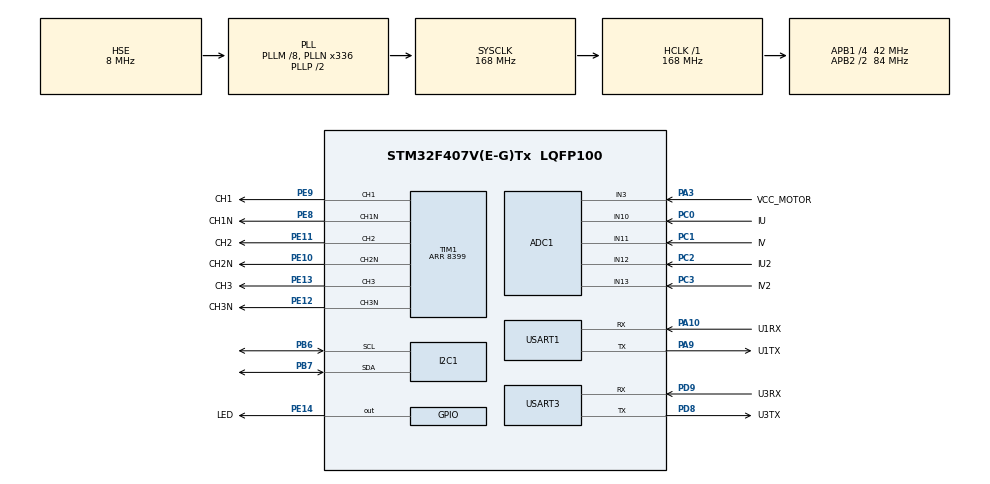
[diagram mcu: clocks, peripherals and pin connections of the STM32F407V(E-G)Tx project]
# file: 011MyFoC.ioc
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ADC1.Channel-0\#ChannelRegularConversion=ADC_CHANNEL_3
ADC1.Channel-1\#ChannelRegularConversion=ADC_CHANNEL_10
ADC1.Channel-2\#ChannelRegularConversion=ADC_CHANNEL_11
ADC1.Channel-3\#ChannelRegularConversion=ADC_CHANNEL_12
ADC1.Channel-4\#ChannelRegularConversion=ADC_CHANNEL_13
ADC1.ContinuousConvMode=ENABLE
ADC1.DMAContinuousRequests=ENABLE
ADC1.EOCSelection=ADC_EOC_SEQ_CONV
ADC1.NbrOfConversion=5
ADC1.NbrOfConversionFlag=1
ADC1.Rank-0\#ChannelRegularConversion=1
ADC1.Rank-1\#ChannelRegularConversion=2
ADC1.Rank-2\#ChannelRegularConversion=3
ADC1.Rank-3\#ChannelRegularConversion=4
ADC1.Rank-4\#ChannelRegularConversion=5
ADC1.SamplingTime-0\#ChannelRegularConversion=ADC_SAMPLETIME_3CYCLES
ADC1.SamplingTime-1\#ChannelRegularConversion=ADC_SAMPLETIME_3CYCLES
ADC1.SamplingTime-2\#ChannelRegularConversion=ADC_SAMPLETIME_3CYCLES
ADC1.SamplingTime-3\#ChannelRegularConversion=ADC_SAMPLETIME_3CYCLES
ADC1.SamplingTime-4\#ChannelRegularConversion=ADC_SAMPLETIME_3CYCLES
ADC1.ScanConvMode=ENABLE
ADC1.master=1
Dma.ADC1.0.Direction=DMA_PERIPH_TO_MEMORY
Dma.ADC1.0.FIFOMode=DMA_FIFOMODE_DISABLE
Dma.ADC1.0.Instance=DMA2_Stream0
Dma.ADC1.0.MemDataAlignment=DMA_MDATAALIGN_HALFWORD
Dma.ADC1.0.MemInc=DMA_MINC_ENABLE
Dma.ADC1.0.Mode=DMA_CIRCULAR
Dma.ADC1.0.PeriphDataAlignment=DMA_PDATAALIGN_HALFWORD
Dma.ADC1.0.PeriphInc=DMA_PINC_DISABLE
Dma.ADC1.0.Priority=DMA_PRIORITY_HIGH
Dma.Request0=ADC1
Dma.Request1=TIM1_CH1
Dma.Request2=TIM1_CH2
Dma.Request3=TIM1_CH3
Dma.TIM1_CH1.1.Direction=DMA_MEMORY_TO_PERIPH
Dma.TIM1_CH1.1.FIFOMode=DMA_FIFOMODE_DISABLE
Dma.TIM1_CH1.1.Instance=DMA2_Stream3
Dma.TIM1_CH1.1.MemDataAlignment=DMA_MDATAALIGN_HALFWORD
Dma.TIM1_CH1.1.MemInc=DMA_MINC_ENABLE
Dma.TIM1_CH1.1.Mode=DMA_CIRCULAR
Dma.TIM1_CH1.1.PeriphDataAlignment=DMA_PDATAALIGN_HALFWORD
Dma.TIM1_CH1.1.PeriphInc=DMA_PINC_DISABLE
Dma.TIM1_CH1.1.Priority=DMA_PRIORITY_VERY_HIGH
Dma.TIM1_CH2.2.Direction=DMA_MEMORY_TO_PERIPH
Dma.TIM1_CH2.2.FIFOMode=DMA_FIFOMODE_DISABLE
Dma.TIM1_CH2.2.Instance=DMA2_Stream2
Dma.TIM1_CH2.2.MemDataAlignment=DMA_MDATAALIGN_HALFWORD
Dma.TIM1_CH2.2.MemInc=DMA_MINC_ENABLE
Dma.TIM1_CH2.2.Mode=DMA_CIRCULAR
Dma.TIM1_CH2.2.PeriphDataAlignment=DMA_PDATAALIGN_HALFWORD
Dma.TIM1_CH2.2.PeriphInc=DMA_PINC_DISABLE
Dma.TIM1_CH2.2.Priority=DMA_PRIORITY_VERY_HIGH
Dma.TIM1_CH3.3.Direction=DMA_MEMORY_TO_PERIPH
Dma.TIM1_CH3.3.FIFOMode=DMA_FIFOMODE_DISABLE
Dma.TIM1_CH3.3.Instance=DMA2_Stream6
Dma.TIM1_CH3.3.MemDataAlignment=DMA_MDATAALIGN_HALFWORD
Dma.TIM1_CH3.3.MemInc=DMA_MINC_ENABLE
Dma.TIM1_CH3.3.Mode=DMA_CIRCULAR
Dma.TIM1_CH3.3.PeriphDataAlignment=DMA_PDATAALIGN_HALFWORD
Dma.TIM1_CH3.3.PeriphInc=DMA_PINC_DISABLE
Dma.TIM1_CH3.3.Priority=DMA_PRIORITY_VERY_HIGH
Mcu.Family=STM32F4
Mcu.Name=STM32F407V(E-G)Tx
Mcu.Package=LQFP100
NVIC.DMA2_Stream0_IRQn=true\:0\:0\:false\:false\:true\:false\:true
NVIC.DMA2_Stream2_IRQn=true\:0\:0\:false\:false\:true\:false\:true
NVIC.DMA2_Stream3_IRQn=true\:0\:0\:false\:false\:true\:false\:true
NVIC.DMA2_Stream6_IRQn=true\:0\:0\:false\:false\:true\:false\:true
NVIC.PriorityGroup=NVIC_PRIORITYGROUP_4
NVIC.TIM1_UP_TIM10_IRQn=true\:0\:0\:false\:false\:true\:true\:true
NVIC.TIM8_TRG_COM_TIM14_IRQn=true\:0\:0\:false\:false\:true\:false\:true
NVIC.TimeBase=TIM8_TRG_COM_TIM14_IRQn
NVIC.TimeBaseIP=TIM14
PA10.GPIO_Label=U1RX
PA10.Mode=Asynchronous
PA10.Signal=USART1_RX
PA13.Mode=Serial_Wire
PA13.Signal=SYS_JTMS-SWDIO
PA14.Mode=Serial_Wire
PA14.Signal=SYS_JTCK-SWCLK
PA3.GPIO_Label=VCC_MOTOR
PA3.Signal=ADCx_IN3
PA9.GPIO_Label=U1TX
PA9.Mode=Asynchronous
PA9.Signal=USART1_TX
PB6.Mode=I2C
PB6.Signal=I2C1_SCL
PB7.Mode=I2C
PB7.Signal=I2C1_SDA
PC0.GPIO_Label=IU
PC0.Signal=ADCx_IN10
PC1.GPIO_Label=IV
PC1.Signal=ADCx_IN11
PC2.GPIO_Label=IU2
PC2.Signal=ADCx_IN12
PC3.GPIO_Label=IV2
PC3.Signal=ADCx_IN13
PD8.GPIO_Label=U3TX
PD8.Mode=Asynchronous
PD8.Signal=USART3_TX
PD9.GPIO_Label=U3RX
PD9.Mode=Asynchronous
PD9.Signal=USART3_RX
PE10.GPIO_Label=CH2N
PE10.GPIO_Speed=GPIO_SPEED_FREQ_VERY_HIGH
PE10.Mode=PWM Generation2 CH2 CH2N
PE10.Signal=TIM1_CH2N
PE11.GPIO_Label=CH2
PE11.GPIO_Speed=GPIO_SPEED_FREQ_VERY_HIGH
PE11.Signal=S_TIM1_CH2
PE12.GPIO_Label=CH3N
PE12.GPIO_Speed=GPIO_SPEED_FREQ_VERY_HIGH
PE12.Mode=PWM Generation3 CH3 CH3N
PE12.Signal=TIM1_CH3N
PE13.GPIO_Label=CH3
PE13.GPIO_Speed=GPIO_SPEED_FREQ_VERY_HIGH
PE13.Signal=S_TIM1_CH3
PE14.GPIO_Label=LED
PE14.PinState=GPIO_PIN_SET
PE14.Signal=GPIO_Output
PE8.GPIO_Label=CH1N
PE8.GPIO_Speed=GPIO_SPEED_FREQ_VERY_HIGH
PE8.Mode=PWM Generation1 CH1 CH1N
PE8.Signal=TIM1_CH1N
PE9.GPIO_Label=CH1
PE9.GPIO_Speed=GPIO_SPEED_FREQ_VERY_HIGH
PE9.Signal=S_TIM1_CH1
PH0-OSC_IN.Mode=HSE-External-Oscillator
PH0-OSC_IN.Signal=RCC_OSC_IN
PH1-OSC_OUT.Mode=HSE-External-Oscillator
PH1-OSC_OUT.Signal=RCC_OSC_OUT
ProjectManager.HeapSize=0x200
ProjectManager.StackSize=0x400
ProjectManager.TargetToolchain=MDK-ARM V5.27
RCC.48MHZClocksFreq_Value=84000000
RCC.AHBFreq_Value=168000000
RCC.APB1CLKDivider=RCC_HCLK_DIV4
RCC.APB1Freq_Value=42000000
RCC.APB1TimFreq_Value=84000000
RCC.APB2CLKDivider=RCC_HCLK_DIV2
RCC.APB2Freq_Value=84000000
RCC.APB2TimFreq_Value=168000000
RCC.CortexFreq_Value=168000000
RCC.HCLKFreq_Value=168000000
RCC.HSE_VALUE=8000000
RCC.HSI_VALUE=16000000
RCC.LSE_VALUE=32768
RCC.PLLM=8
RCC.PLLN=336
RCC.PLLSourceVirtual=RCC_PLLSOURCE_HSE
RCC.SYSCLKFreq_VALUE=168000000
RCC.SYSCLKSource=RCC_SYSCLKSOURCE_PLLCLK
RCC.VCOOutputFreq_Value=336000000
SH.ADCx_IN10.0=ADC1_IN10,IN10
SH.ADCx_IN11.0=ADC1_IN11,IN11
SH.ADCx_IN12.0=ADC1_IN12,IN12
SH.ADCx_IN13.0=ADC1_IN13,IN13
SH.ADCx_IN3.0=ADC1_IN3,IN3
SH.S_TIM1_CH1.0=TIM1_CH1,PWM Generation1 CH1 CH1N
SH.S_TIM1_CH2.0=TIM1_CH2,PWM Generation2 CH2 CH2N
SH.S_TIM1_CH3.0=TIM1_CH3,PWM Generation3 CH3 CH3N
STMicroelectronics.X-CUBE-ALGOBUILD.1.1.0.LibraryCcMotionOoLibrariesJjMotionOoLibraries=true
TIM1.Channel-PWM\ Generation1\ CH1\ CH1N=TIM_CHANNEL_1
TIM1.Channel-PWM\ Generation2\ CH2\ CH2N=TIM_CHANNEL_2
TIM1.Channel-PWM\ Generation3\ CH3\ CH3N=TIM_CHANNEL_3
TIM1.Channel-PWM\ Generation4\ CH4=TIM_CHANNEL_4
TIM1.ClockDivision=TIM_CLOCKDIVISION_DIV4
TIM1.CounterMode=TIM_COUNTERMODE_CENTERALIGNED3
TIM1.DeadTime=168
TIM1.LockLevel=TIM_LOCKLEVEL_1
TIM1.OC1Preload_PWM=ENABLE
TIM1.OC2Preload_PWM=ENABLE
TIM1.OffStateIDLEMode=TIM_OSSI_ENABLE
TIM1.OffStateRunMode=TIM_OSSR_ENABLE
TIM1.Period=8399
TIM1.Pulse-PWM\ Generation1\ CH1\ CH1N=4199
TIM1.Pulse-PWM\ Generation2\ CH2\ CH2N=4199
TIM1.Pulse-PWM\ Generation3\ CH3\ CH3N=4199
USART1.VirtualMode=VM_ASYNC
USART3.VirtualMode=VM_ASYNC
VP_SYS_VS_tim14.Mode=TIM14
VP_TIM1_VS_ClockSourceINT.Mode=Internal
board=custom

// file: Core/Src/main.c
/* USER CODE BEGIN Header */
/**
  ******************************************************************************
  * @file           : main.c
  * @brief          : Main program body
  ******************************************************************************
  * @attention
  *
  * <h2><center>&copy; Copyright (c) 2021 STMicroelectronics.
  * All rights reserved.</center></h2>
  *
  * This software component is licensed by ST under BSD 3-Clause license,
  * the "License"; You may not use this file except in compliance with the
  * License. You may obtain a copy of the License at:
  *                        opensource.org/licenses/BSD-3-Clause
  *
  ******************************************************************************
  */
/* USER CODE END Header */
#include "main.h"
#include "adc.h"
#include "dma.h"
#include "i2c.h"
#include "tim.h"
#include "usart.h"
#include "gpio.h"

/* USER CODE BEGIN Includes */
#include "svpwm.h"
/* USER CODE END Includes */

/* USER CODE BEGIN PV */
float testTheta = 0, testKp = 0, speed = 0.1;
//ADC
extern DMA_HandleTypeDef hdma_adc1;
uint16_t adcRawData[5] = {0};
float adcValue[5];
//TIM
uint16_t pwmPluseRaw[3] = {4199, 4199, 4199};
/* USER CODE END PV */

void SystemClock_Config(void);

/* USER CODE BEGIN 0 */
void adcCompCallback( struct __DMA_HandleTypeDef * hdma)
{
  if(hdma == &hdma_adc1)
  {
  }
}
/* USER CODE END 0 */

int main(void)
{

  /* MCU Configuration--------------------------------------------------------*/

  /* Reset of all peripherals, Initializes the Flash interface and the Systick. */
  HAL_Init();

  /* Configure the system clock */
  SystemClock_Config();

  /* Initialize all configured peripherals */
  MX_GPIO_Init();
  MX_DMA_Init();
  MX_ADC1_Init();
  MX_I2C1_Init();
  MX_TIM1_Init();
  MX_USART1_UART_Init();
  MX_USART3_UART_Init();
  /* USER CODE BEGIN 2 */

  hdma_adc1.XferCpltCallback = adcCompCallback;
  HAL_ADC_Start_DMA(&hadc1, (uint32_t*)adcRawData, 5);

  pwmPluseRaw[0] = 4199;
  pwmPluseRaw[1] = 4199;
  pwmPluseRaw[2] = 4199;

  while(HAL_TIM_PWM_Start_DMA(&htim1, TIM_CHANNEL_1, (uint32_t*)&pwmPluseRaw[0], 1) == HAL_BUSY);
  while(HAL_TIM_PWM_Start_DMA(&htim1, TIM_CHANNEL_2, (uint32_t*)&pwmPluseRaw[1], 1) == HAL_BUSY);
  while(HAL_TIM_PWM_Start_DMA(&htim1, TIM_CHANNEL_3, (uint32_t*)&pwmPluseRaw[2], 1) == HAL_BUSY);
  HAL_TIMEx_PWMN_Start(&htim1, TIM_CHANNEL_1);
  HAL_TIMEx_PWMN_Start(&htim1, TIM_CHANNEL_2);
  HAL_TIMEx_PWMN_Start(&htim1, TIM_CHANNEL_3);
  /* USER CODE END 2 */

  /* Infinite loop */
  /* USER CODE BEGIN WHILE */
  float test[3] = {
    50.0,
    50.0,
    50.0,
  };

  while (1)
  {
    HAL_Delay(1);
    HAL_GPIO_TogglePin(LED_GPIO_Port, LED_Pin);

    // if(++test[0] > 100)
    // {
    //   test[0] = 0;
    // }
    // if(--test[1] < 0)
    // {
    //   test[1] = 100;
    // }

    if(testKp < 60.0)
      testKp += 0.05;

    if(speed < 50.0)
      speed += 0.005;

    testTheta += speed;
    if(testTheta >= 360.0)
    {
      testTheta = 0.0;
    }

    svpwmCal(testTheta, testKp, (StPwmDuty_t*)test);
    for(uint8_t i=0; i < 3; i++)
      pwmPluseRaw[i] = test[i]*(htim1.Instance->ARR);

    /* USER CODE END WHILE */

  }
}

void SystemClock_Config(void)
{
  RCC_OscInitTypeDef RCC_OscInitStruct = {0};
  RCC_ClkInitTypeDef RCC_ClkInitStruct = {0};

  /** Configure the main internal regulator output voltage
  */
  __HAL_RCC_PWR_CLK_ENABLE();
  __HAL_PWR_VOLTAGESCALING_CONFIG(PWR_REGULATOR_VOLTAGE_SCALE1);
  /** Initializes the RCC Oscillators according to the specified parameters
  * in the RCC_OscInitTypeDef structure.
  */
  RCC_OscInitStruct.OscillatorType = RCC_OSCILLATORTYPE_HSE;
  RCC_OscInitStruct.HSEState = RCC_HSE_ON;
  RCC_OscInitStruct.PLL.PLLState = RCC_PLL_ON;
  RCC_OscInitStruct.PLL.PLLSource = RCC_PLLSOURCE_HSE;
  RCC_OscInitStruct.PLL.PLLM = 8;
  RCC_OscInitStruct.PLL.PLLN = 336;
  RCC_OscInitStruct.PLL.PLLP = RCC_PLLP_DIV2;
  RCC_OscInitStruct.PLL.PLLQ = 4;
  if (HAL_RCC_OscConfig(&RCC_OscInitStruct) != HAL_OK)
  {
    Error_Handler();
  }
  /** Initializes the CPU, AHB and APB buses clocks
  */
  RCC_ClkInitStruct.ClockType = RCC_CLOCKTYPE_HCLK|RCC_CLOCKTYPE_SYSCLK
                              |RCC_CLOCKTYPE_PCLK1|RCC_CLOCKTYPE_PCLK2;
  RCC_ClkInitStruct.SYSCLKSource = RCC_SYSCLKSOURCE_PLLCLK;
  RCC_ClkInitStruct.AHBCLKDivider = RCC_SYSCLK_DIV1;
  RCC_ClkInitStruct.APB1CLKDivider = RCC_HCLK_DIV4;
  RCC_ClkInitStruct.APB2CLKDivider = RCC_HCLK_DIV2;

  if (HAL_RCC_ClockConfig(&RCC_ClkInitStruct, FLASH_LATENCY_5) != HAL_OK)
  {
    Error_Handler();
  }
}

 /**
  * @brief  Period elapsed callback in non blocking mode
  * @note   This function is called  when TIM14 interrupt took place, inside
  * HAL_TIM_IRQHandler(). It makes a direct call to HAL_IncTick() to increment
  * a global variable "uwTick" used as application time base.
  * @param  htim : TIM handle
  * @retval None
  */
void HAL_TIM_PeriodElapsedCallback(TIM_HandleTypeDef *htim)
{
  if (htim->Instance == TIM14) {
    HAL_IncTick();
  }
}

void Error_Handler(void)
{
  __disable_irq();
  while (1)
  {
  }
}

/************************ (C) COPYRIGHT STMicroelectronics *****END OF FILE****/
